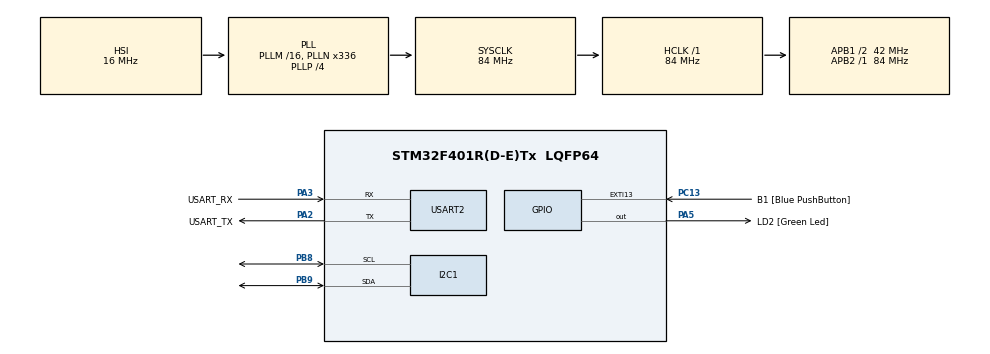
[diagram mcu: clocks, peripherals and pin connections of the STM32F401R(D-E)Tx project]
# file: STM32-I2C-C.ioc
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I2C1.I2C_Mode=I2C_Standard
Mcu.Family=STM32F4
Mcu.Name=STM32F401R(D-E)Tx
Mcu.Package=LQFP64
NVIC.PriorityGroup=NVIC_PRIORITYGROUP_0
NVIC.TIM1_TRG_COM_TIM11_IRQn=true\:0\:0\:false\:false\:true\:true\:true
PA13.GPIO_Label=TMS
PA13.Mode=Serial_Wire
PA13.Signal=SYS_JTMS-SWDIO
PA14.GPIO_Label=TCK
PA14.Mode=Serial_Wire
PA14.Signal=SYS_JTCK-SWCLK
PA2.GPIO_Label=USART_TX
PA2.GPIO_Mode=GPIO_MODE_AF_PP
PA2.GPIO_PuPd=GPIO_NOPULL
PA2.GPIO_Speed=GPIO_SPEED_FREQ_LOW
PA2.Mode=Asynchronous
PA2.Signal=USART2_TX
PA3.GPIO_Label=USART_RX
PA3.GPIO_Mode=GPIO_MODE_AF_PP
PA3.GPIO_PuPd=GPIO_NOPULL
PA3.GPIO_Speed=GPIO_SPEED_FREQ_LOW
PA3.Mode=Asynchronous
PA3.Signal=USART2_RX
PA5.GPIO_Label=LD2 [Green Led]
PA5.GPIO_Mode=GPIO_MODE_OUTPUT_PP
PA5.GPIO_PuPd=GPIO_NOPULL
PA5.GPIO_Speed=GPIO_SPEED_FREQ_LOW
PA5.Signal=GPIO_Output
PB3.GPIO_Label=SWO
PB3.Signal=SYS_JTDO-SWO
PB8.Mode=I2C
PB8.Signal=I2C1_SCL
PB9.Mode=I2C
PB9.Signal=I2C1_SDA
PC13-ANTI_TAMP.GPIO_Label=B1 [Blue PushButton]
PC13-ANTI_TAMP.GPIO_ModeDefaultEXTI=GPIO_MODE_IT_FALLING
PC13-ANTI_TAMP.GPIO_PuPd=GPIO_NOPULL
PC13-ANTI_TAMP.Signal=GPXTI13
PC14-OSC32_IN.Mode=LSE-External-Oscillator
PC14-OSC32_IN.Signal=RCC_OSC32_IN
PC15-OSC32_OUT.Mode=LSE-External-Oscillator
PC15-OSC32_OUT.Signal=RCC_OSC32_OUT
PH0\ -\ OSC_IN.Mode=HSE-External-Clock-Source
PH0\ -\ OSC_IN.Signal=RCC_OSC_IN
PH1\ -\ OSC_OUT.Mode=HSE-External-Clock-Source
PH1\ -\ OSC_OUT.Signal=RCC_OSC_OUT
ProjectManager.HeapSize=0x200
ProjectManager.StackSize=0x400
ProjectManager.TargetToolchain=STM32CubeIDE
RCC.48MHZClocksFreq_Value=48000000
RCC.AHBFreq_Value=84000000
RCC.APB1CLKDivider=RCC_HCLK_DIV2
RCC.APB1Freq_Value=42000000
RCC.APB1TimFreq_Value=84000000
RCC.APB2Freq_Value=84000000
RCC.APB2TimFreq_Value=84000000
RCC.CortexFreq_Value=84000000
RCC.HCLKFreq_Value=84000000
RCC.HSE_VALUE=8000000
RCC.HSI_VALUE=16000000
RCC.PLLN=336
RCC.PLLP=RCC_PLLP_DIV4
RCC.PLLQ=7
RCC.SYSCLKFreq_VALUE=84000000
RCC.SYSCLKSource=RCC_SYSCLKSOURCE_PLLCLK
RCC.VCOOutputFreq_Value=336000000
TIM11.Period=40-1
TIM11.Prescaler=8400-1
USART2.VirtualMode=VM_ASYNC
VP_TIM11_VS_ClockSourceINT.Mode=Enable_Timer
board=NUCLEO-F401RE

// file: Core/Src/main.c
/* USER CODE BEGIN Header */
/**
 ******************************************************************************
 * @file           : main.c
 * @brief          : Main program body
 ******************************************************************************
 * @attention
 *
 * Copyright (c) 2022 STMicroelectronics.
 * All rights reserved.
 *
 * This software is licensed under terms that can be found in the LICENSE file
 * in the root directory of this software component.
 * If no LICENSE file comes with this software, it is provided AS-IS.
 *
 ******************************************************************************
 */
/* USER CODE END Header */
#include "main.h"
#include "i2c.h"
#include "tim.h"
#include "usart.h"
#include "gpio.h"

/* USER CODE BEGIN Includes */
#include "string.h"
#include "stdio.h"
#include "MPUXX50.h"

/* USER CODE END Includes */

/* USER CODE BEGIN PD */
#define LED_PIN   GPIO_PIN_5
#define LED_PORT  GPIOA

#define TRUE  1
#define FALSE 0
/* USER CODE END PD */

/* USER CODE BEGIN PV */
uint8_t serialBuf[100];
/* USER CODE END PV */

void SystemClock_Config(void);

int main(void)
{

  /* MCU Configuration--------------------------------------------------------*/

  /* Reset of all peripherals, Initializes the Flash interface and the Systick. */
  HAL_Init();

  /* Configure the system clock */
  SystemClock_Config();

  /* Initialize all configured peripherals */
  MX_GPIO_Init();
  MX_USART2_UART_Init();
  MX_I2C1_Init();
  MX_TIM11_Init();
  /* USER CODE BEGIN 2 */

  // Check if IMU configured properly and block if it didn't
  if (MPU_begin(&hi2c1, AD0_LOW, AFSR_4G, GFSR_500DPS, 0.98, 0.004) == TRUE)
  {
    HAL_GPIO_WritePin(LED_PORT, LED_PIN, 1);
  }
  else
  {
    sprintf((char *)serialBuf, "ERROR!\r\n");
    HAL_UART_Transmit(&huart2, serialBuf, strlen((char *)serialBuf), HAL_MAX_DELAY);
    while (1)
    {
      HAL_GPIO_TogglePin(LED_PORT, LED_PIN);
      HAL_Delay(500);
    }
  }

  // Calibrate the IMU
  sprintf((char *)serialBuf, "CALIBRATING...\r\n");
  HAL_UART_Transmit(&huart2, serialBuf, strlen((char *)serialBuf), HAL_MAX_DELAY);
  MPU_calibrateGyro(&hi2c1, 1500);

  // Start timer and put processor into an efficient low power mode
  HAL_TIM_Base_Start_IT(&htim11);
  HAL_PWR_EnableSleepOnExit();
  HAL_PWR_EnterSLEEPMode(PWR_MAINREGULATOR_ON, PWR_SLEEPENTRY_WFI);

  /* USER CODE END 2 */

  /* Infinite loop */
  /* USER CODE BEGIN WHILE */
  //  while (1)
  //  {
    /* USER CODE END WHILE */

    /* USER CODE BEGIN 3 */
  //  }
  /* USER CODE END 3 */
}

void SystemClock_Config(void)
{
  RCC_OscInitTypeDef RCC_OscInitStruct = {0};
  RCC_ClkInitTypeDef RCC_ClkInitStruct = {0};

  /** Configure the main internal regulator output voltage
  */
  __HAL_RCC_PWR_CLK_ENABLE();
  __HAL_PWR_VOLTAGESCALING_CONFIG(PWR_REGULATOR_VOLTAGE_SCALE2);
  /** Initializes the RCC Oscillators according to the specified parameters
  * in the RCC_OscInitTypeDef structure.
  */
  RCC_OscInitStruct.OscillatorType = RCC_OSCILLATORTYPE_HSI;
  RCC_OscInitStruct.HSIState = RCC_HSI_ON;
  RCC_OscInitStruct.HSICalibrationValue = RCC_HSICALIBRATION_DEFAULT;
  RCC_OscInitStruct.PLL.PLLState = RCC_PLL_ON;
  RCC_OscInitStruct.PLL.PLLSource = RCC_PLLSOURCE_HSI;
  RCC_OscInitStruct.PLL.PLLM = 16;
  RCC_OscInitStruct.PLL.PLLN = 336;
  RCC_OscInitStruct.PLL.PLLP = RCC_PLLP_DIV4;
  RCC_OscInitStruct.PLL.PLLQ = 7;
  if (HAL_RCC_OscConfig(&RCC_OscInitStruct) != HAL_OK)
  {
    Error_Handler();
  }
  /** Initializes the CPU, AHB and APB buses clocks
  */
  RCC_ClkInitStruct.ClockType = RCC_CLOCKTYPE_HCLK|RCC_CLOCKTYPE_SYSCLK
                              |RCC_CLOCKTYPE_PCLK1|RCC_CLOCKTYPE_PCLK2;
  RCC_ClkInitStruct.SYSCLKSource = RCC_SYSCLKSOURCE_PLLCLK;
  RCC_ClkInitStruct.AHBCLKDivider = RCC_SYSCLK_DIV1;
  RCC_ClkInitStruct.APB1CLKDivider = RCC_HCLK_DIV2;
  RCC_ClkInitStruct.APB2CLKDivider = RCC_HCLK_DIV1;

  if (HAL_RCC_ClockConfig(&RCC_ClkInitStruct, FLASH_LATENCY_2) != HAL_OK)
  {
    Error_Handler();
  }
}

/* USER CODE BEGIN 4 */

// Callback: timer has rolled over
void HAL_TIM_PeriodElapsedCallback(TIM_HandleTypeDef *htim)
{
  // Check if timer has triggered and update attitude
  if (htim == &htim11)
  {
    HAL_ResumeTick();

    MPU_calcAttitude(&hi2c1);
    sprintf((char *)serialBuf, "%.1f,%.1f,%.1f\r\n", attitude.r, attitude.p, attitude.y);
    HAL_UART_Transmit(&huart2, serialBuf, strlen((char *)serialBuf), HAL_MAX_DELAY);

    HAL_SuspendTick();
  }
}

/* USER CODE END 4 */

void Error_Handler(void)
{
  __disable_irq();
  while (1)
  {
  }
}
